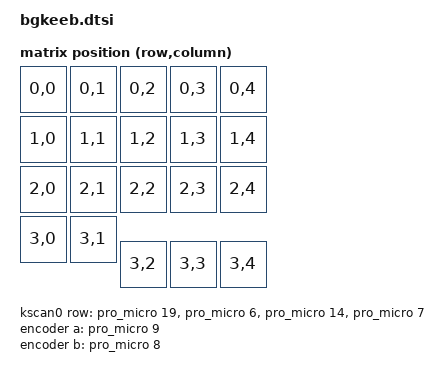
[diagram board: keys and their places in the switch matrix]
#include <dt-bindings/zmk/matrix_transform.h>
#include <physical_layouts.dtsi>


/ {
    chosen {
        zmk,kscan = &kscan0;
        zmk,physical-layout = &physical_layout0;
    };

    physical_layout0: physical_layout_0 {
        compatible = "zmk,physical-layout";
        display-name = "bgkeeb default";
        transform = <&default_transform>;
        kscan = <&kscan0>;
        // Units in hundredths-of-u (1u = 100). Layout: 5 cols × 4 rows + thumb row offset.
        keys  // width   height   x      y      r rx ry
            = <&key_physical_attrs 100 100    0     0    0  0  0>  /* RC(0,0) */
            , <&key_physical_attrs 100 100  100     0    0  0  0>  /* RC(0,1) */
            , <&key_physical_attrs 100 100  200     0    0  0  0>  /* RC(0,2) */
            , <&key_physical_attrs 100 100  300     0    0  0  0>  /* RC(0,3) */
            , <&key_physical_attrs 100 100  400     0    0  0  0>  /* RC(0,4) */
            , <&key_physical_attrs 100 100    0   100    0  0  0>  /* RC(1,0) */
            , <&key_physical_attrs 100 100  100   100    0  0  0>  /* RC(1,1) */
            , <&key_physical_attrs 100 100  200   100    0  0  0>  /* RC(1,2) */
            , <&key_physical_attrs 100 100  300   100    0  0  0>  /* RC(1,3) */
            , <&key_physical_attrs 100 100  400   100    0  0  0>  /* RC(1,4) */
            , <&key_physical_attrs 100 100    0   200    0  0  0>  /* RC(2,0) */
            , <&key_physical_attrs 100 100  100   200    0  0  0>  /* RC(2,1) */
            , <&key_physical_attrs 100 100  200   200    0  0  0>  /* RC(2,2) */
            , <&key_physical_attrs 100 100  300   200    0  0  0>  /* RC(2,3) */
            , <&key_physical_attrs 100 100  400   200    0  0  0>  /* RC(2,4) */
            , <&key_physical_attrs 100 100    0   300    0  0  0>  /* RC(3,0) - no physical switch */
            , <&key_physical_attrs 100 100  100   300    0  0  0>  /* RC(3,1) - no physical switch */
            , <&key_physical_attrs 100 100  200   350    0  0  0>  /* RC(3,2) thumb (slight offset down) */
            , <&key_physical_attrs 100 100  300   350    0  0  0>  /* RC(3,3) thumb */
            , <&key_physical_attrs 100 100  400   350    0  0  0>  /* RC(3,4) thumb */
            ;
    };

    default_transform: keymap_transform_0 {
        compatible = "zmk,matrix-transform";
        columns = <5>;
        rows = <4>;

        map = <
            RC(0,0) RC(0,1) RC(0,2) RC(0,3) RC(0,4)
            RC(1,0) RC(1,1) RC(1,2) RC(1,3) RC(1,4)
            RC(2,0) RC(2,1) RC(2,2) RC(2,3) RC(2,4)
            RC(3,0) RC(3,1) RC(3,2) RC(3,3) RC(3,4)
        >;
    };

    kscan0: kscan {
        compatible = "zmk,kscan-gpio-matrix";
        label = "KSCAN";

        diode-direction = "col2row";
        // #define MATRIX_ROW_PINS { F6, D7, B3, E6 }     == { 19, 6, 14, 7 }
        // #define MATRIX_COL_PINS { F4, D4, F5, B1, B2 } == { 21, 4, 20, 15, 16 }
        row-gpios
            = <&pro_micro 19 (GPIO_ACTIVE_HIGH | GPIO_PULL_DOWN)>
            , <&pro_micro 6  (GPIO_ACTIVE_HIGH | GPIO_PULL_DOWN)>
            , <&pro_micro 14 (GPIO_ACTIVE_HIGH | GPIO_PULL_DOWN)>
            , <&pro_micro 7  (GPIO_ACTIVE_HIGH | GPIO_PULL_DOWN)>
            ;
    };

    // #define ENCODERS_PAD_A {B5} {9} {A9}
    // #define ENCODERS_PAD_B {B4} {8} {A8}

    // #define ENCODER_RESOLUTION 2 ------- used default zmk values instead
    encoder: encoder {
        compatible = "alps,ec11";
        label = "encoder";
        a-gpios = <&pro_micro 9 (GPIO_ACTIVE_HIGH | GPIO_PULL_UP)>;
        b-gpios = <&pro_micro 8 (GPIO_ACTIVE_HIGH | GPIO_PULL_UP)>;
        steps = <80>;
        status = "okay";
    };

    sensors: sensors {
        compatible = "zmk,keymap-sensors";
        sensors = <&encoder>;
        triggers-per-rotation = <20>;
    };

    // Battery monitoring via nRF52840 internal VDDH voltage divider (no extra GPIO).
    // Solo con este nodo + &adc status "okay" (ya hecho por nice_nano base)
    // ZMK empieza a reportar battery % via Studio RPC.
    battery {
        compatible = "zmk,battery-nrf-vddh";
    };
};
